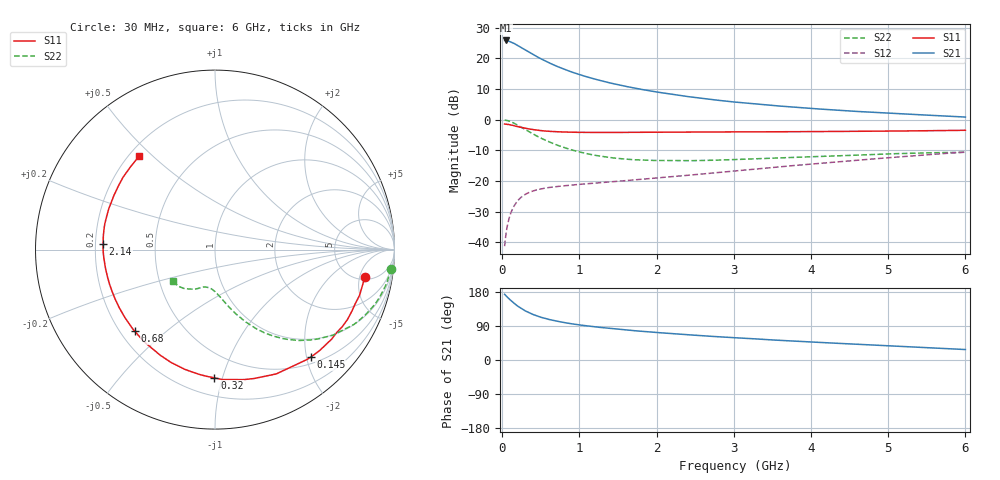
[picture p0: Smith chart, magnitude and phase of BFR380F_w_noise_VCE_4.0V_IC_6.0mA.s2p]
! Infineon Technologies  Discrete & RF Semiconductors
! BFR380F
! VCE =  4.0 V,  IC =  6.0 mA
! Common Emitter S-Parameters:  Nov 2015
# GHz  S  MA  R  50
!  f  S11  S21  S12  S22
! GHz  MAG  ANG  MAG  ANG  MAG  ANG  MAG  ANG
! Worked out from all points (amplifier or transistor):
!   206 points, 30 MHz to 6 GHz, reference 50 ohm
!   highest |S21| = 25.8 dB at 50 MHz (marker M1)
!   |S21| within 3 dB of that: start of sweep to 293.2 MHz
!   unconditionally stable (mu >= 1): 2.14 GHz to 5.007 GHz
!   at 200 MHz: K = 0.15, MSG = 25.3 dB, |S12| = -26.4 dB
!   at 1.56 GHz: K = 0.86, MSG = 15.5 dB, |S12| = -19.9 dB
!   at 6 GHz: K = 0.96, MSG = 5.7 dB, |S12| = -10.6 dB
!   lowest NFmin = 0.78 dB at 900 MHz
!   S11 on the Smith chart (normalised r, x): 30 MHz: 5.45, -6.03; 145 MHz: 0.62, -2.07; 320 MHz: 0.32, -0.94; 680 MHz: 0.26, -0.40; 2.14 GHz: 0.23, +0.03; 6 GHz: 0.24, +0.45
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0.03  0.8488 -10.5  19.45 173.4  0.0087 84.7  0.9855 -6.2
0.05  0.8444 -17.7  19.45 168.7  0.0143 81.3  0.9766 -10.2
0.08  0.8345 -27.9  19.04 163.2  0.0225 76.5  0.9549 -16.1
0.1  0.8202 -34.5  18.62 159.1  0.0275 73.1  0.9355 -19.8
0.145  0.8016 -48.4  17.59 151.0  0.0378 66.5  0.8843 -27.6
0.2  0.7721 -63.8  16.15 142.1  0.048 59.8  0.8125 -35.9
0.26  0.7413 -77.8  14.58 134.3  0.0564 54.0  0.7351 -43.2
0.32  0.7146 -90.3  13.14 127.5  0.0628 49.5  0.6633 -49.3
0.4  0.6884 -104.0  11.46 120.0  0.0691 45.1  0.5811 -56.0
0.5  0.6631 -117.3  9.776 112.8  0.0745 41.6  0.4994 -62.3
0.6  0.6476 -127.8  8.463 107.2  0.0783 39.5  0.4369 -67.1
0.68  0.6376 -134.4  7.638 103.7  0.0806 38.6  0.3979 -70.1
0.8  0.6289 -143.0  6.619 98.8  0.0837 37.9  0.3504 -74.3
1.04  0.6198 -155.1  5.219 91.5  0.0891 38.4  0.2895 -80.6
1.2  0.6187 -161.4  4.562 87.5  0.0925 39.5  0.2628 -84.3
1.5  0.6191 -170.3  3.698 81.2  0.0993 42.1  0.2333 -90.2
2.02  0.6241 179.0  2.793 72.3  0.1126 47.0  0.2159 -98.5
2.14  0.6245 176.9  2.65 70.5  0.116 48.1  0.2149 -100.1
3.1  0.6309 163.9  1.889 57.8  0.1493 55.1  0.2259 -110.3
4.1  0.639 151.7  1.491 46.5  0.1937 58.3  0.2509 -118.5
5.1  0.6528 140.5  1.256 36.5  0.2451 58.6  0.2791 -129.9
6  0.6709 129.1  1.101 27.6  0.2961 56.0  0.2939 -143.6
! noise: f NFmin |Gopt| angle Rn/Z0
0.45  0.8  0.21  49  0.1
0.9  0.78  0.23  98  0.12
1.8  1.15  0.36  153  0.08
1.9  1.26  0.37  155  0.08
2.4  1.43  0.4  172  0.08
3.5  2.15  0.49  -163  0.1
